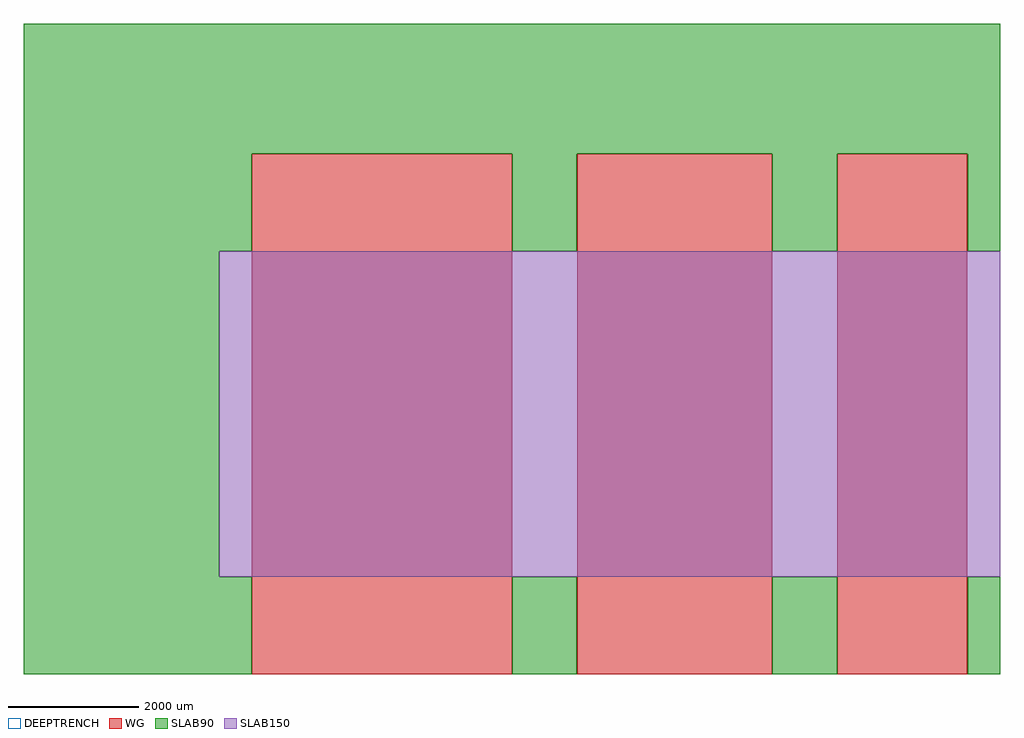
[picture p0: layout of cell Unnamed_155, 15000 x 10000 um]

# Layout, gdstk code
import gdstk
lib = gdstk.Library(unit=1e-6, precision=1e-09)
def R(c, l, rs):  # rectangles x0, y0, x1, y1
    for r in rs: c.add(gdstk.rectangle(r[:2], r[2:], *l))
def P(c, l, *ps):  # polygons
    for p in ps: c.add(gdstk.Polygon(p, *l))
WG = (1, 0)
SLAB150 = (2, 0)
SLAB90 = (3, 0)
DEEPTRENCH = (4, 0)

rectangle_gdsfactorypco_ = lib.new_cell('rectangle_gdsfactorypco_d62c8934')
R(rectangle_gdsfactorypco_, DEEPTRENCH, [(0,0,15000,10000)])

c_rectangle_gdsfactorypco_ = lib.new_cell('rectangle_gdsfactorypco_f3e8933c')
R(c_rectangle_gdsfactorypco_, WG, [(0,0,2000,8000)])

c_rectangle_gdsfactorypco__ = lib.new_cell('rectangle_gdsfactorypco_753275c4')
R(c_rectangle_gdsfactorypco__, SLAB150, [(0,0,12000,5000)])

c_rectangle_gdsfactorypco___ = lib.new_cell('rectangle_gdsfactorypco_79e0bb07')
R(c_rectangle_gdsfactorypco___, WG, [(0,0,3000,8000)])

c_rectangle_gdsfactorypco____ = lib.new_cell('rectangle_gdsfactorypco_37909111')
R(c_rectangle_gdsfactorypco____, WG, [(0,0,4000,8000)])

unnamed_155 = lib.new_cell('Unnamed_155')
R(unnamed_155, SLAB90, [(4003,0,4997,1497), (8003,0,8997,1497), (11003,0,11500,1497)])
P(unnamed_155, SLAB90, [(-3500,0),(-3500,10000),(11500,10000),(11500,6503),(11003,6503),(11003,8003),(8997,8003),(8997,6503),(8003,6503),(8003,8003),(4997,8003),(4997,6503),(4003,6503),(4003,8003),(-3,8003),(-3,6503),(-503,6503),(-503,1497),(-3,1497),(-3,0)])
unnamed_155.add(gdstk.Reference(rectangle_gdsfactorypco_, (-3500,0)))
unnamed_155.add(gdstk.Reference(c_rectangle_gdsfactorypco_, (9000,0)))
unnamed_155.add(gdstk.Reference(c_rectangle_gdsfactorypco__, (-500,1500)))
unnamed_155.add(gdstk.Reference(c_rectangle_gdsfactorypco___, (5000,0)))
unnamed_155.add(gdstk.Reference(c_rectangle_gdsfactorypco____, (0,0)))

lib.write_gds('Unnamed_155.gds')
